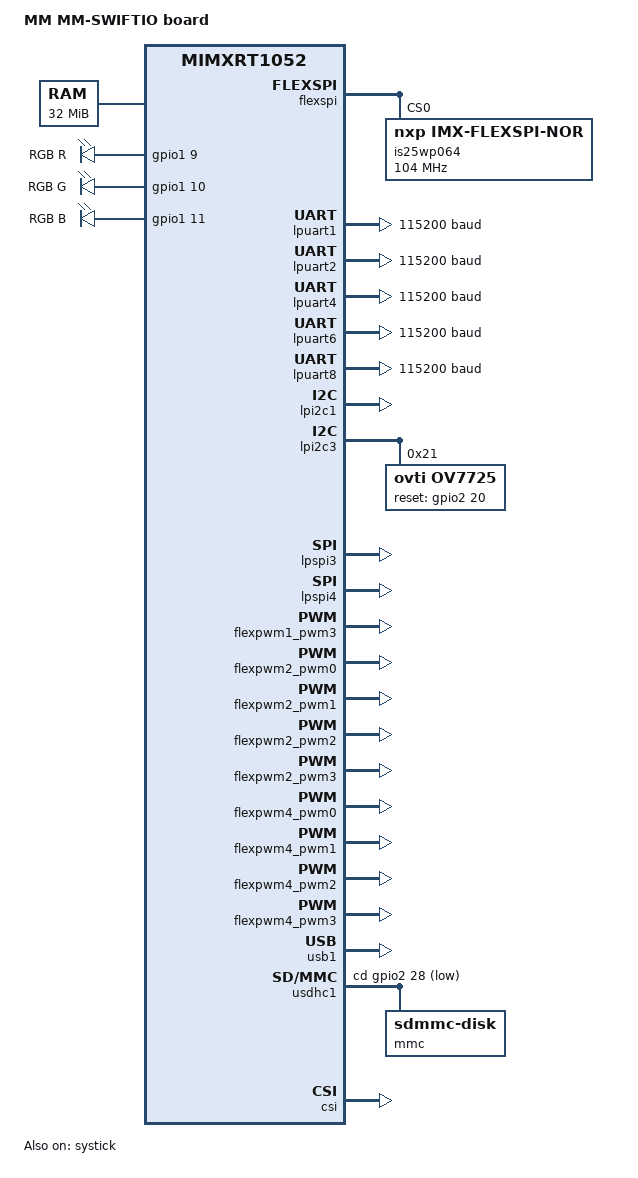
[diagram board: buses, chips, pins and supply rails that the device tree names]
/*
 * Copyright (c) 2019, MADMACHINE LIMITED
 *
 * SPDX-License-Identifier: Apache-2.0
 */

/dts-v1/;

#include <nxp/nxp_rt1050.dtsi>
#include "mm_swiftio-pinctrl.dtsi"

/ {
	model = "MM MM-SWIFTIO board";
	compatible = "nxp,mimxrt1052";

	aliases {
		led0 = &green_led;
		led1 = &red_led;
		led2 = &blue_led;
		sdhc0 = &usdhc1;
	};

	chosen {
		zephyr,sram = &sdram0;
		zephyr,itcm = &itcm;
		zephyr,dtcm = &dtcm;
		zephyr,console = &lpuart1;
		zephyr,shell-uart = &lpuart1;
		zephyr,flash = &is25wp064;
	};

	sdram0: memory@80000000 {
		/* Micron MT48LC16M16A2B4-6AIT:G */
		device_type = "memory";
		reg = <0x80000000 DT_SIZE_M(32)>;
	};

	leds {
		compatible = "gpio-leds";
		red_led: led_0 {
			gpios = <&gpio1 9 0>;
			label = "RGB R";
		};

		green_led: led_1 {
			gpios = <&gpio1 10 0>;
			label = "RGB G";
		};

		blue_led: led_2 {
			gpios = <&gpio1 11 0>;
			label = "RGB B";
		};
	};
};


&flexspi {
	reg = <0x402a8000 0x4000>, <0x60000000 DT_SIZE_M(8)>;
	is25wp064: is25wp064@0 {
		compatible = "nxp,imx-flexspi-nor";
		size = <67108864>;
		reg = <0>;
		spi-max-frequency = <104000000>;
		status = "okay";
		jedec-id = [9d 70 17];
	};
};

&lpuart1 {
	status = "okay";
	current-speed = <115200>;
	pinctrl-0 = <&pinmux_lpuart1>;
	pinctrl-1 = <&pinmux_lpuart1_sleep>;
	pinctrl-names = "default", "sleep";
};

&lpuart2 {
	status = "okay";
	current-speed = <115200>;
};

&lpuart4 {
	status = "okay";
	current-speed = <115200>;
};

&lpuart6 {
	status = "okay";
	current-speed = <115200>;
};

&lpuart8 {
	status = "okay";
	current-speed = <115200>;
};

&lpi2c1 {
	status = "okay";
	pinctrl-0 = <&pinmux_lpi2c1>;
	pinctrl-names = "default";
};

&lpi2c3 {
	status = "okay";
	pinctrl-0 = <&pinmux_lpi2c3>;
	pinctrl-names = "default";

	ov7725: ov7725@21 {
		compatible = "ovti,ov7725";
		reg = <0x21>;
		status = "okay";

		reset-gpios = <&gpio2 20 GPIO_ACTIVE_HIGH>;

		port {
			ov7725_ep_out: endpoint {
				remote-endpoint-label = "csi_ep_in";
			};
		};
	};
};

&lpspi3 {
	status = "okay";
	pcs-sck-delay = <50>;
	sck-pcs-delay = <50>;
	transfer-delay = <50>;
};

&lpspi4 {
	status = "okay";
	pcs-sck-delay = <50>;
	sck-pcs-delay = <50>;
	transfer-delay = <50>;
};

&flexpwm1_pwm3 {
	status = "okay";
};

&flexpwm2_pwm0 {
	status = "okay";
};

&flexpwm2_pwm1 {
	status = "okay";
};

&flexpwm2_pwm2 {
	status = "okay";
};

&flexpwm2_pwm3 {
	status = "okay";
};

&flexpwm4_pwm0 {
	status = "okay";
};

&flexpwm4_pwm1 {
	status = "okay";
};

&flexpwm4_pwm2 {
	status = "okay";
};

&flexpwm4_pwm3 {
	status = "okay";
};

&usb1 {
	status = "okay";
};

&usdhc1 {
	status = "okay";
	cd-gpios = <&gpio2 28 GPIO_ACTIVE_LOW>;
	no-1-8-v;
	pinctrl-0 = <&pinmux_usdhc1>;
	pinctrl-1 = <&pinmux_usdhc1_slow>;
	pinctrl-2 = <&pinmux_usdhc1_med>;
	pinctrl-3 = <&pinmux_usdhc1_fast>;
	pinctrl-names = "default", "slow", "med", "fast";
	mmc {
		compatible = "zephyr,sdmmc-disk";
		status = "okay";
	};
};

&csi {
	status = "okay";
	source = <&ov7725>;
	pinctrl-0 = <&pinmux_csi>;
	pinctrl-names = "default";

	port {
		csi_ep_in: endpoint {
			remote-endpoint-label = "ov7725_ep_out";
		};
	};
};

&edma0 {
	status = "okay";
};

&systick {
	status = "okay";
};
